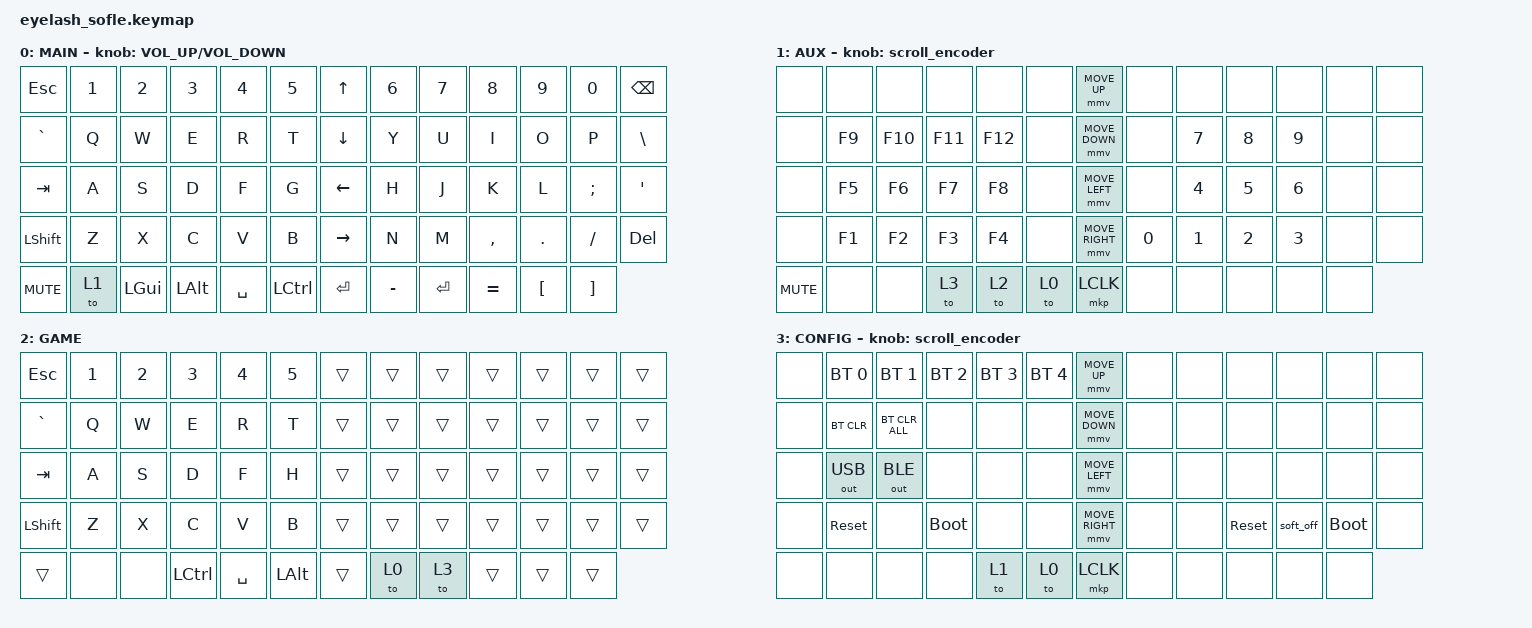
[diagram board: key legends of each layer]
#define ZMK_POINTING_DEFAULT_MOVE_VAL 1200  // 600
#define ZMK_POINTING_DEFAULT_SCRL_VAL 25   // 10

#include <input/processors.dtsi>
#include <zephyr/dt-bindings/input/input-event-codes.h>
#include <behaviors.dtsi>
#include <dt-bindings/zmk/bt.h>
#include <dt-bindings/zmk/keys.h>
#include <dt-bindings/zmk/outputs.h>
#include <dt-bindings/zmk/pointing.h>

&mmv_input_listener { input-processors = <&zip_xy_scaler 2 1>; };

&msc_input_listener { input-processors = <&zip_scroll_scaler 2 1>; };

&msc {
    acceleration-exponent = <1>;      // 0
    time-to-max-speed-ms = <100>;       // 300
    delay-ms = <0>;                   // 0
};

&mmv {
    time-to-max-speed-ms = <500>;
    acceleration-exponent = <1>;
    trigger-period-ms = <16>;
};

/ {
    scroll_encoder: scroll_encoder {
        compatible = "zmk,behavior-sensor-rotate";
        #sensor-binding-cells = <0>;
        bindings = <&msc SCRL_DOWN>, <&msc SCRL_UP>;

        tap-ms = <100>;
    };

    behaviors {
    };

    keymap {
        compatible = "zmk,keymap";

        main {
            bindings = <
&kp ESC     &kp N1  &kp N2        &kp N3        &kp N4     &kp N5              &kp UP_ARROW     &kp N6     &kp N7     &kp N8     &kp N9            &kp N0             &kp BACKSPACE
&kp GRAVE   &kp Q   &kp W         &kp E         &kp R      &kp T               &kp DOWN_ARROW   &kp Y      &kp U      &kp I      &kp O             &kp P              &kp BSLH
&kp TAB     &kp A   &kp S         &kp D         &kp F      &kp G               &kp LEFT_ARROW   &kp H      &kp J      &kp K      &kp L             &kp SEMI           &kp APOS
&kp LSHFT   &kp Z   &kp X         &kp C         &kp V      &kp B               &kp RIGHT_ARROW  &kp N      &kp M      &kp COMMA  &kp DOT           &kp FSLH           &kp DEL
&kp C_MUTE  &to 1   &kp LEFT_GUI  &kp LEFT_ALT  &kp SPACE  &kp LEFT_CONTROL    &kp ENTER        &kp MINUS  &kp ENTER  &kp EQUAL  &kp LEFT_BRACKET  &kp RIGHT_BRACKET
            >;

            sensor-bindings = <&inc_dec_kp C_VOLUME_UP C_VOLUME_DOWN>;
            display-name = "MAIN";
        };

        aux {
            bindings = <
&none       &none   &none    &none    &none    &none    &mmv MOVE_UP     &none         &none         &none         &none         &none  &none
&none       &kp F9  &kp F10  &kp F11  &kp F12  &none    &mmv MOVE_DOWN   &none         &kp NUMBER_7  &kp NUMBER_8  &kp NUMBER_9  &none  &none
&none       &kp F5  &kp F6   &kp F7   &kp F8   &none    &mmv MOVE_LEFT   &none         &kp NUMBER_4  &kp NUMBER_5  &kp NUMBER_6  &none  &none
&none       &kp F1  &kp F2   &kp F3   &kp F4   &none    &mmv MOVE_RIGHT  &kp NUMBER_0  &kp NUMBER_1  &kp NUMBER_2  &kp NUMBER_3  &none  &none
&kp C_MUTE  &none   &none    &to 3    &to 2    &to 0    &mkp LCLK        &none         &none         &none         &none         &none
            >;

            display-name = "AUX";
            sensor-bindings = <&scroll_encoder>;
        };

        game {
            bindings = <
&kp ESC         &kp NUMBER_1  &kp NUMBER_2  &kp NUMBER_3  &kp NUMBER_4  &kp NUMBER_5    &trans  &trans  &trans  &trans  &trans  &trans  &trans
&kp GRAVE       &kp Q         &kp W         &kp E         &kp R         &kp T           &trans  &trans  &trans  &trans  &trans  &trans  &trans
&kp TAB         &kp A         &kp S         &kp D         &kp F         &kp H           &trans  &trans  &trans  &trans  &trans  &trans  &trans
&kp LEFT_SHIFT  &kp Z         &kp X         &kp C         &kp V         &kp B           &trans  &trans  &trans  &trans  &trans  &trans  &trans
&trans          &none         &none         &kp LCTRL     &kp SPACE     &kp LEFT_ALT    &trans  &to 0   &to 3   &trans  &trans  &trans
            >;

            label = "GAME";
        };

        config {
            bindings = <
&none  &bt BT_SEL 0  &bt BT_SEL 1    &bt BT_SEL 2  &bt BT_SEL 3  &bt BT_SEL 4    &mmv MOVE_UP     &none  &none  &none       &none      &none        &none
&none  &bt BT_CLR    &bt BT_CLR_ALL  &none         &none         &none           &mmv MOVE_DOWN   &none  &none  &none       &none      &none        &none
&none  &out OUT_USB  &out OUT_BLE    &none         &none         &none           &mmv MOVE_LEFT   &none  &none  &none       &none      &none        &none
&none  &sys_reset    &none           &bootloader   &none         &none           &mmv MOVE_RIGHT  &none  &none  &sys_reset  &soft_off  &bootloader  &none
&none  &none         &none           &none         &to 1         &to 0           &mkp LCLK        &none  &none  &none       &none      &none
            >;

            sensor-bindings = <&scroll_encoder>;
            label = "CONFIG";
        };
    };
};
